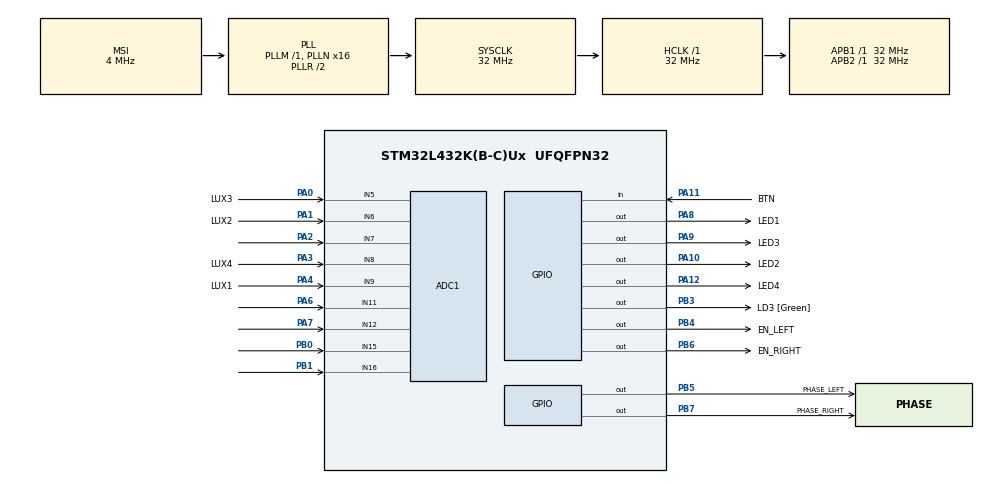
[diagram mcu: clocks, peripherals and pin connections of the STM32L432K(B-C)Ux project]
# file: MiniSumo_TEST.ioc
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ADC1.Channel-0\#ChannelRegularConversion=ADC_CHANNEL_11
ADC1.NbrOfConversionFlag=1
ADC1.OffsetNumber-0\#ChannelRegularConversion=ADC_OFFSET_NONE
ADC1.Rank-0\#ChannelRegularConversion=1
ADC1.SamplingTime-0\#ChannelRegularConversion=ADC_SAMPLETIME_2CYCLES_5
ADC1.master=1
Mcu.Family=STM32L4
Mcu.Name=STM32L432K(B-C)Ux
Mcu.Package=UFQFPN32
NVIC.PriorityGroup=NVIC_PRIORITYGROUP_4
PA0.GPIO_Label=LUX3
PA0.Signal=ADCx_IN5
PA1.GPIO_Label=LUX2
PA1.Signal=ADCx_IN6
PA10.GPIO_Label=LED2
PA10.GPIO_PuPd=GPIO_PULLDOWN
PA10.Signal=GPIO_Output
PA11.GPIO_Label=BTN
PA11.Signal=GPIO_Input
PA12.GPIO_Label=LED4
PA12.GPIO_PuPd=GPIO_PULLDOWN
PA12.Signal=GPIO_Output
PA13\ (JTMS-SWDIO).GPIO_Label=SWDIO
PA13\ (JTMS-SWDIO).Mode=Serial_Wire
PA13\ (JTMS-SWDIO).Signal=SYS_JTMS-SWDIO
PA14\ (JTCK-SWCLK).GPIO_Label=SWCLK
PA14\ (JTCK-SWCLK).Mode=Serial_Wire
PA14\ (JTCK-SWCLK).Signal=SYS_JTCK-SWCLK
PA2.Signal=ADCx_IN7
PA3.GPIO_Label=LUX4
PA3.Signal=ADCx_IN8
PA4.GPIO_Label=LUX1
PA4.Signal=ADCx_IN9
PA6.Signal=ADCx_IN11
PA7.Signal=ADCx_IN12
PA8.GPIO_Label=LED1
PA8.GPIO_PuPd=GPIO_PULLDOWN
PA8.Signal=GPIO_Output
PA9.GPIO_Label=LED3
PA9.GPIO_PuPd=GPIO_PULLDOWN
PA9.Signal=GPIO_Output
PB0.Signal=ADCx_IN15
PB1.Signal=ADCx_IN16
PB3\ (JTDO-TRACESWO).GPIO_Label=LD3 [Green]
PB3\ (JTDO-TRACESWO).GPIO_PuPd=GPIO_NOPULL
PB3\ (JTDO-TRACESWO).Signal=GPIO_Output
PB4\ (NJTRST).GPIO_Label=EN_LEFT
PB4\ (NJTRST).GPIO_PuPd=GPIO_PULLDOWN
PB4\ (NJTRST).Signal=GPIO_Output
PB5.GPIO_Label=PHASE_LEFT
PB5.GPIO_PuPd=GPIO_PULLDOWN
PB5.Signal=GPIO_Output
PB6.GPIO_Label=EN_RIGHT
PB6.GPIO_PuPd=GPIO_PULLDOWN
PB6.Signal=GPIO_Output
PB7.GPIO_Label=PHASE_RIGHT
PB7.GPIO_PuPd=GPIO_PULLDOWN
PB7.Signal=GPIO_Output
PC14-OSC32_IN\ (PC14).Mode=LSE-External-Oscillator
PC14-OSC32_IN\ (PC14).Signal=RCC_OSC32_IN
PC15-OSC32_OUT\ (PC15).Mode=LSE-External-Oscillator
PC15-OSC32_OUT\ (PC15).Signal=RCC_OSC32_OUT
ProjectManager.HeapSize=0x200
ProjectManager.StackSize=0x400
ProjectManager.TargetToolchain=STM32CubeIDE
RCC.ADCFreq_Value=32000000
RCC.AHBFreq_Value=32000000
RCC.APB1Freq_Value=32000000
RCC.APB1TimFreq_Value=32000000
RCC.APB2Freq_Value=32000000
RCC.APB2TimFreq_Value=32000000
RCC.CortexFreq_Value=32000000
RCC.HCLKFreq_Value=32000000
RCC.HSE_VALUE=8000000
RCC.HSI16_VALUE=16000000
RCC.HSI48_VALUE=48000000
RCC.HSI_VALUE=16000000
RCC.MSI_VALUE=4000000
RCC.PLLMUL=RCC_PLLMUL_4
RCC.PLLN=16
RCC.PLLSAI1N=16
RCC.SYSCLKFreq_VALUE=32000000
RCC.SYSCLKSource=RCC_SYSCLKSOURCE_PLLCLK
RCC.USBFreq_Value=32000000
RCC.VCOOutputFreq_Value=64000000
SH.ADCx_IN11.0=ADC1_IN11,IN11-Single-Ended
SH.ADCx_IN12.0=ADC1_IN12,IN12-Single-Ended
SH.ADCx_IN15.0=ADC1_IN15,IN15-Single-Ended
SH.ADCx_IN16.0=ADC1_IN16,IN16-Single-Ended
SH.ADCx_IN5.0=ADC1_IN5,IN5-Single-Ended
SH.ADCx_IN6.0=ADC1_IN6,IN6-Single-Ended
SH.ADCx_IN7.0=ADC1_IN7,IN7-Single-Ended
SH.ADCx_IN8.0=ADC1_IN8,IN8-Single-Ended
SH.ADCx_IN9.0=ADC1_IN9,IN9-Single-Ended
VP_RNG_VS_RNG.Mode=RNG_Activate
board=NUCLEO-L432KC

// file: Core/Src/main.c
/* USER CODE BEGIN Header */
/**
  ******************************************************************************
  * @file           : main.c
  * @brief          : Main program body
  ******************************************************************************
  * @attention
  *
  * Copyright (c) 2025 STMicroelectronics.
  * All rights reserved.
  *
  * This software is licensed under terms that can be found in the LICENSE file
  * in the root directory of this software component.
  * If no LICENSE file comes with this software, it is provided AS-IS.
  *
  ******************************************************************************
  */
/* USER CODE END Header */
#include "main.h"

/* USER CODE BEGIN PD */
#define NUM_SENSORS (9) //how many analog sensors are used in the robot
#define SOFTWARE_PWM_PERIOD (5) //software PWM period in ticks - the less the fester is the PWM freq
#define DEBOUNCE_THRESHOLD (5) //number of stable reads required to confirm a new button state
/* USER CODE END PD */

ADC_HandleTypeDef hadc1;

RNG_HandleTypeDef hrng;

void SystemClock_Config(void);
void PeriphCommonClock_Config(void);
static void MX_GPIO_Init(void);
static void MX_ADC1_Init(void);
static void MX_RNG_Init(void);

/* USER CODE BEGIN 0 */

//Enum for all states in state machine
typedef enum
{
    STATE_IDLE,
    STATE_SEARCH,
    STATE_FIGHT
} RobotState_t;

//struct that associates an ADC channel with a pointer to its output variable
typedef struct
{
    uint32_t channel;
    uint32_t* value_ptr;
} Sensor_t;

//struct that stores info about button state
typedef struct
{
    uint8_t current;          //current debounced button state  <== use this for external usage
    uint8_t previous;         //previous debounced state
    uint8_t rising_edge;      //set to 1 for one loop cycle when a press is detected
    uint8_t falling_edge;     //set to 1 for one loop cycle when a release is detected
    uint8_t stable_state;     //internal filtered state
    uint8_t debounce_counter; //counter for debounce filtering
} ButtonState_t;

//enum representing current motor direction state
typedef enum {
    DIR_STOP,
    DIR_FORWARD,
    DIR_BACKWARD,
    DIR_LEFT,
    DIR_RIGHT
} Direction_t;

//variables used to store analog values read from sensors
uint32_t dist_front_right_value, dist_side_right_value, dist_front_middle_value, dist_front_left_value;
uint32_t dist_side_left_value, light_front_right_value, light_back_right_value, light_front_left_value, light_back_left_value;

static uint8_t pwm_counter = 0; //PWM counter incremented every 1ms from SysTick

//variable tracking current movement direction
Direction_t current_direction = DIR_STOP;

//global variables storing duty cycle 0-100% for left and right motors
volatile uint8_t pwm_left = 0;
volatile uint8_t pwm_right = 0;

//button state
ButtonState_t button = {0};

//holder for current state in state machine
RobotState_t current_state = STATE_IDLE;

//array that maps ADC channels to their corresponding sensor value variables
Sensor_t sensors[NUM_SENSORS] =
{
    {ADC_CHANNEL_16, &dist_front_right_value},
    {ADC_CHANNEL_11, &dist_side_right_value},
    {ADC_CHANNEL_12, &dist_front_middle_value},
    {ADC_CHANNEL_7,  &dist_front_left_value},
    {ADC_CHANNEL_15, &dist_side_left_value},
    {ADC_CHANNEL_9,  &light_front_right_value},
    {ADC_CHANNEL_6,  &light_back_right_value},
    {ADC_CHANNEL_5,  &light_front_left_value},
    {ADC_CHANNEL_8,  &light_back_left_value}
};

//variables defining detection of white line
uint8_t lineDetected_Left=0, lineDetected_Right=0;

//temporary variable for defining distance sensor range
uint32_t temp_sensorRange = 1000;

//variable for storage time of start
uint32_t start_Time=0;

//selects the specified ADC channel and prepares it for conversion
void ADC_SetActiveChannel(ADC_HandleTypeDef *hadc, uint32_t AdcChannel)
{
  ADC_ChannelConfTypeDef sConfig = {0};
  sConfig.Channel = AdcChannel;
  sConfig.Rank = 1;
  sConfig.SamplingTime = ADC_SAMPLETIME_12CYCLES_5;
  if (HAL_ADC_ConfigChannel(hadc, &sConfig) != HAL_OK)
  {
	  Error_Handler();
  }
}

//reads values from all configured ADC channels and stores the results
void UpdateAllSensors(void)
{
    for (int i = 0; i < NUM_SENSORS; i++)
    {
        ADC_SetActiveChannel(&hadc1, sensors[i].channel);
        HAL_ADC_Start(&hadc1);

        if (HAL_ADC_PollForConversion(&hadc1, 10) == HAL_OK)
        {
        	//store the value directly in the variable pointed to by the sensor
            *(sensors[i].value_ptr) = HAL_ADC_GetValue(&hadc1);
        }
    }
}

//stops both motors by disabling the enable pins
void StopMotors(void)
{
    HAL_GPIO_WritePin(EN_LEFT_GPIO_Port, EN_LEFT_Pin, GPIO_PIN_RESET);
    HAL_GPIO_WritePin(EN_RIGHT_GPIO_Port, EN_RIGHT_Pin, GPIO_PIN_RESET);
    pwm_left = 0;
    pwm_right = 0;
    current_direction = DIR_STOP;
}

//stops motors briefly if direction is changing to avoid shoot-through
void SafeDirectionChange(Direction_t new_dir)
{
    if (current_direction != DIR_STOP && current_direction != new_dir)
    {
        StopMotors();
        HAL_Delay(100); //dead time to allow safe switching
    }
}

//moves robot forward at specified speed (0–100%)
void MoveBack(uint8_t speed_percent)
{
    SafeDirectionChange(DIR_FORWARD);

    HAL_GPIO_WritePin(PHASE_LEFT_GPIO_Port, PHASE_LEFT_Pin, GPIO_PIN_SET);
    HAL_GPIO_WritePin(PHASE_RIGHT_GPIO_Port, PHASE_RIGHT_Pin, GPIO_PIN_SET);

    uint8_t duty;

    if (speed_percent > 100)
    {
        duty = SOFTWARE_PWM_PERIOD;
    }
    else
    {
        duty = (speed_percent * SOFTWARE_PWM_PERIOD) / 100;
    }

    pwm_left = duty;
    pwm_right = duty;

    current_direction = DIR_FORWARD;
}

//moves robot backward at specified speed (0–100%)
void MoveForward(uint8_t speed_percent)
{
    SafeDirectionChange(DIR_BACKWARD);

    HAL_GPIO_WritePin(PHASE_LEFT_GPIO_Port, PHASE_LEFT_Pin, GPIO_PIN_RESET);
    HAL_GPIO_WritePin(PHASE_RIGHT_GPIO_Port, PHASE_RIGHT_Pin, GPIO_PIN_RESET);

    uint8_t duty;

    if (speed_percent > 100)
    {
        duty = SOFTWARE_PWM_PERIOD;
    }
    else
    {
        duty = (speed_percent * SOFTWARE_PWM_PERIOD) / 100;
    }

    pwm_left = duty;
    pwm_right = duty;

    current_direction = DIR_BACKWARD;
}

//spins robot left so it turns in place at specified speed
void TurnLeft(uint8_t speed_percent)
{
    SafeDirectionChange(DIR_LEFT);

    HAL_GPIO_WritePin(PHASE_LEFT_GPIO_Port, PHASE_LEFT_Pin, GPIO_PIN_RESET);
    HAL_GPIO_WritePin(PHASE_RIGHT_GPIO_Port, PHASE_RIGHT_Pin, GPIO_PIN_SET);

    uint8_t duty;

    if (speed_percent > 100)
    {
        duty = SOFTWARE_PWM_PERIOD;
    }
    else
    {
        duty = (speed_percent * SOFTWARE_PWM_PERIOD) / 100;
    }

    pwm_left = duty;
    pwm_right = duty;

    current_direction = DIR_LEFT;
}

//spins robot right so it turns in place at specified speed
void TurnRight(uint8_t speed_percent)
{
    SafeDirectionChange(DIR_RIGHT);

    HAL_GPIO_WritePin(PHASE_LEFT_GPIO_Port, PHASE_LEFT_Pin, GPIO_PIN_SET);
    HAL_GPIO_WritePin(PHASE_RIGHT_GPIO_Port, PHASE_RIGHT_Pin, GPIO_PIN_RESET);

    uint8_t duty;

    if (speed_percent > 100)
    {
        duty = SOFTWARE_PWM_PERIOD;
    }
    else
    {
        duty = (speed_percent * SOFTWARE_PWM_PERIOD) / 100;
    }

    pwm_left = duty;
    pwm_right = duty;

    current_direction = DIR_RIGHT;
}

//software based PWM controller - should be called every 1ms from SysTick_Handler :)
void SoftwarePWM_Loop(void)
{
    pwm_counter++;
    if (pwm_counter >= SOFTWARE_PWM_PERIOD)
    {
    	pwm_counter = 0;
    }

    //left motor PWM
    if (pwm_counter < pwm_left)
    {
    	HAL_GPIO_WritePin(EN_LEFT_GPIO_Port, EN_LEFT_Pin, GPIO_PIN_SET);
    }
    else
    {
    	HAL_GPIO_WritePin(EN_LEFT_GPIO_Port, EN_LEFT_Pin, GPIO_PIN_RESET);
    }

    //right motor PWM
    if (pwm_counter < pwm_right)
    {
    	HAL_GPIO_WritePin(EN_RIGHT_GPIO_Port, EN_RIGHT_Pin, GPIO_PIN_SET);
    }
    else
    {
    	HAL_GPIO_WritePin(EN_RIGHT_GPIO_Port, EN_RIGHT_Pin, GPIO_PIN_RESET);
    }
}

//turn LEDs under the robot on and off
void LEDsOnOff(uint8_t state)
{
	if (state == 0)
	{
		HAL_GPIO_WritePin(LED1_GPIO_Port, LED1_Pin, GPIO_PIN_RESET);
		HAL_GPIO_WritePin(LED2_GPIO_Port, LED2_Pin, GPIO_PIN_RESET);
		HAL_GPIO_WritePin(LED3_GPIO_Port, LED3_Pin, GPIO_PIN_RESET);
		HAL_GPIO_WritePin(LED4_GPIO_Port, LED4_Pin, GPIO_PIN_RESET);
	}
	else
	{
		HAL_GPIO_WritePin(LED1_GPIO_Port, LED1_Pin, GPIO_PIN_SET);
		HAL_GPIO_WritePin(LED2_GPIO_Port, LED2_Pin, GPIO_PIN_SET);
		HAL_GPIO_WritePin(LED3_GPIO_Port, LED3_Pin, GPIO_PIN_SET);
		HAL_GPIO_WritePin(LED4_GPIO_Port, LED4_Pin, GPIO_PIN_SET);
	}
}

//calculates the button state including filtering
void UpdateButtonState(void)
{
    //read raw button input
    uint8_t raw_state = (HAL_GPIO_ReadPin(BTN_GPIO_Port, BTN_Pin) == GPIO_PIN_RESET) ? 1 : 0;

    //check if the raw state differs from the last confirmed stable state
    if (raw_state != button.stable_state)
    {
        //count how many times this new state was seen consecutively
        button.debounce_counter++;

        //if new state was long enough then accept it
        if (button.debounce_counter >= DEBOUNCE_THRESHOLD)
        {
            button.previous = button.stable_state;
            button.stable_state = raw_state;

            //edge detection
            button.rising_edge  = (button.previous == 0 && button.stable_state == 1);
            button.falling_edge = (button.previous == 1 && button.stable_state == 0);
        }
    }
    else
    {
        //reset debounce counter if state is sure
        button.debounce_counter = 0;

        //reset edge flags
        button.rising_edge = 0;
        button.falling_edge = 0;
    }

    //save debounced state for external use
    button.current = button.stable_state;
}

void hendleLineDetect(uint8_t min_time, uint8_t max_time){
	//Times of manuvers in ms
	uint8_t reatreat_Time = 70;
	uint8_t turning_Time = 100;

	//RN holder
	uint32_t rng_holder = 0;

	uint32_t executingTime = HAL_GetTick() - start_Time;

	//Checks values of light sensors to check line on left side
	if( light_front_left_value >12 ){ lineDetected_Left = 1;}
	//Checks values of light sensors to check line on right side
	if( light_front_right_value > 12 ){ lineDetected_Right = 1;}
	//If line is detected and there is no active reatret or turns start step back
	if(lineDetected_Left || lineDetected_Right){
		if(!start_Time)
		{
			start_Time = HAL_GetTick();
			if(HAL_RNG_GenerateRandomNumber(&hrng, &rng_holder) == HAL_OK){}
			turning_Time = rng_holder%(max_time - min_time) + min_time;
		}
		if(executingTime < reatreat_Time)
		{
			MoveBack(50);
		}
		if(executingTime > reatreat_Time && executingTime < (reatreat_Time + turning_Time))
		{
			if(lineDetected_Left ){ TurnRight(50);}
			if(lineDetected_Right){ TurnLeft(50) ;}
		}
		if(executingTime > (reatreat_Time + turning_Time)){
			start_Time = 0;
			lineDetected_Left = 0;
			lineDetected_Right = 0;
		}
	}
}
uint8_t enemy_localization(){
	if(dist_side_left_value > temp_sensorRange && dist_front_left_value > temp_sensorRange){return 1;}
	if(dist_front_left_value > temp_sensorRange){return 2;}
	if(dist_front_left_value > temp_sensorRange && dist_front_middle_value > temp_sensorRange){return 3;}
	if(dist_front_middle_value > temp_sensorRange){return 4;}
	if(dist_front_middle_value > temp_sensorRange && dist_front_right_value > temp_sensorRange){return 5;}
	if(dist_front_left_value > temp_sensorRange){return 6;}
	if(dist_front_right_value > temp_sensorRange && dist_side_right_value > temp_sensorRange){return 7;}
	if(dist_front_left_value > temp_sensorRange && dist_front_middle_value > temp_sensorRange && dist_front_right_value > temp_sensorRange){return 8;}
	if(dist_side_left_value > temp_sensorRange){return 9;}
	if(dist_side_right_value > temp_sensorRange){return 10;}
}
void circural_offence(uint8_t enemy_zone){
	switch(enemy_zone)
	{
	case 1:

		break;
	case 2:

		break;
	case 3:

		break;
	case 4:

		break;
	case 5:

		break;
	case 6:

		break;
	case 7:

		break;
	case 8:

		break
	case 9:

		break;
	case 10:

		break;

	}
}
/* USER CODE END 0 */

int main(void)
{

  /* MCU Configuration--------------------------------------------------------*/

  /* Reset of all peripherals, Initializes the Flash interface and the Systick. */
  HAL_Init();

  /* Configure the system clock */
  SystemClock_Config();

  /* Configure the peripherals common clocks */
  PeriphCommonClock_Config();

  /* Initialize all configured peripherals */
  MX_GPIO_Init();
  MX_ADC1_Init();
  MX_RNG_Init();
  /* USER CODE BEGIN 2 */
  HAL_ADC_Start(&hadc1);

  /* USER CODE END 2 */

  /* Infinite loop */
  /* USER CODE BEGIN WHILE */
  while (1)
  {
	  UpdateAllSensors();
	  UpdateButtonState();

	  //STATE MACHINE
	  switch (current_state)
	  {
	  case STATE_IDLE:
		  //here we put logic for one state
		  LEDsOnOff(1);
		  StopMotors();

		  //here we check conditions when we want to go to the next state
		  if (button.rising_edge)
		  {
			  current_state = STATE_SEARCH;
		  }
		  break;
	  case STATE_SEARCH:
		  //......logic........
		  MoveForward(50);
		  LEDsOnOff(1);
		  hendleLineDetect(60,120);
		  //......conditions........
		  for(int i = 0; i < 5; i++){
			  if(*(sensors[i].value_ptr) > temp_sensorRange){
				  current_state = STATE_FIGHT;
			  }
		  }
		  break;
	  case STATE_FIGHT:
		  //......logic........
		  uint8_t enemyZone = enemy_localization();
		  circural_offence(enemyZone);
		  hendleLineDetect(30, 50);
		  //......conditions........
		  for(int i = 0; i < 5; i++){
			  if(*(sensors[i].value_ptr) < temp_sensorRange){
				  current_state = STATE_SEARCH;
			  }
		  }
		  break;
	  }

    /* USER CODE END WHILE */

  }
}

void SystemClock_Config(void)
{
  RCC_OscInitTypeDef RCC_OscInitStruct = {0};
  RCC_ClkInitTypeDef RCC_ClkInitStruct = {0};

  /** Configure the main internal regulator output voltage
  */
  if (HAL_PWREx_ControlVoltageScaling(PWR_REGULATOR_VOLTAGE_SCALE1) != HAL_OK)
  {
    Error_Handler();
  }

  /** Configure LSE Drive Capability
  */
  HAL_PWR_EnableBkUpAccess();
  __HAL_RCC_LSEDRIVE_CONFIG(RCC_LSEDRIVE_LOW);

  /** Initializes the RCC Oscillators according to the specified parameters
  * in the RCC_OscInitTypeDef structure.
  */
  RCC_OscInitStruct.OscillatorType = RCC_OSCILLATORTYPE_LSE|RCC_OSCILLATORTYPE_MSI;
  RCC_OscInitStruct.LSEState = RCC_LSE_ON;
  RCC_OscInitStruct.MSIState = RCC_MSI_ON;
  RCC_OscInitStruct.MSICalibrationValue = 0;
  RCC_OscInitStruct.MSIClockRange = RCC_MSIRANGE_6;
  RCC_OscInitStruct.PLL.PLLState = RCC_PLL_ON;
  RCC_OscInitStruct.PLL.PLLSource = RCC_PLLSOURCE_MSI;
  RCC_OscInitStruct.PLL.PLLM = 1;
  RCC_OscInitStruct.PLL.PLLN = 16;
  RCC_OscInitStruct.PLL.PLLP = RCC_PLLP_DIV7;
  RCC_OscInitStruct.PLL.PLLQ = RCC_PLLQ_DIV2;
  RCC_OscInitStruct.PLL.PLLR = RCC_PLLR_DIV2;
  if (HAL_RCC_OscConfig(&RCC_OscInitStruct) != HAL_OK)
  {
    Error_Handler();
  }

  /** Initializes the CPU, AHB and APB buses clocks
  */
  RCC_ClkInitStruct.ClockType = RCC_CLOCKTYPE_HCLK|RCC_CLOCKTYPE_SYSCLK
                              |RCC_CLOCKTYPE_PCLK1|RCC_CLOCKTYPE_PCLK2;
  RCC_ClkInitStruct.SYSCLKSource = RCC_SYSCLKSOURCE_PLLCLK;
  RCC_ClkInitStruct.AHBCLKDivider = RCC_SYSCLK_DIV1;
  RCC_ClkInitStruct.APB1CLKDivider = RCC_HCLK_DIV1;
  RCC_ClkInitStruct.APB2CLKDivider = RCC_HCLK_DIV1;

  if (HAL_RCC_ClockConfig(&RCC_ClkInitStruct, FLASH_LATENCY_1) != HAL_OK)
  {
    Error_Handler();
  }

  /** Enable MSI Auto calibration
  */
  HAL_RCCEx_EnableMSIPLLMode();
}

void PeriphCommonClock_Config(void)
{
  RCC_PeriphCLKInitTypeDef PeriphClkInit = {0};

  /** Initializes the peripherals clock
  */
  PeriphClkInit.PeriphClockSelection = RCC_PERIPHCLK_RNG|RCC_PERIPHCLK_ADC;
  PeriphClkInit.AdcClockSelection = RCC_ADCCLKSOURCE_PLLSAI1;
  PeriphClkInit.RngClockSelection = RCC_RNGCLKSOURCE_PLLSAI1;
  PeriphClkInit.PLLSAI1.PLLSAI1Source = RCC_PLLSOURCE_MSI;
  PeriphClkInit.PLLSAI1.PLLSAI1M = 1;
  PeriphClkInit.PLLSAI1.PLLSAI1N = 16;
  PeriphClkInit.PLLSAI1.PLLSAI1P = RCC_PLLP_DIV7;
  PeriphClkInit.PLLSAI1.PLLSAI1Q = RCC_PLLQ_DIV2;
  PeriphClkInit.PLLSAI1.PLLSAI1R = RCC_PLLR_DIV2;
  PeriphClkInit.PLLSAI1.PLLSAI1ClockOut = RCC_PLLSAI1_48M2CLK|RCC_PLLSAI1_ADC1CLK;
  if (HAL_RCCEx_PeriphCLKConfig(&PeriphClkInit) != HAL_OK)
  {
    Error_Handler();
  }
}

static void MX_ADC1_Init(void)
{

  ADC_ChannelConfTypeDef sConfig = {0};

  /** Common config
  */
  hadc1.Instance = ADC1;
  hadc1.Init.ClockPrescaler = ADC_CLOCK_ASYNC_DIV1;
  hadc1.Init.Resolution = ADC_RESOLUTION_12B;
  hadc1.Init.DataAlign = ADC_DATAALIGN_RIGHT;
  hadc1.Init.ScanConvMode = ADC_SCAN_DISABLE;
  hadc1.Init.EOCSelection = ADC_EOC_SINGLE_CONV;
  hadc1.Init.LowPowerAutoWait = DISABLE;
  hadc1.Init.ContinuousConvMode = DISABLE;
  hadc1.Init.NbrOfConversion = 1;
  hadc1.Init.DiscontinuousConvMode = DISABLE;
  hadc1.Init.ExternalTrigConv = ADC_SOFTWARE_START;
  hadc1.Init.ExternalTrigConvEdge = ADC_EXTERNALTRIGCONVEDGE_NONE;
  hadc1.Init.DMAContinuousRequests = DISABLE;
  hadc1.Init.Overrun = ADC_OVR_DATA_PRESERVED;
  hadc1.Init.OversamplingMode = DISABLE;
  if (HAL_ADC_Init(&hadc1) != HAL_OK)
  {
    Error_Handler();
  }

  /** Configure Regular Channel
  */
  sConfig.Channel = ADC_CHANNEL_11;
  sConfig.Rank = ADC_REGULAR_RANK_1;
  sConfig.SamplingTime = ADC_SAMPLETIME_2CYCLES_5;
  sConfig.SingleDiff = ADC_SINGLE_ENDED;
  sConfig.OffsetNumber = ADC_OFFSET_NONE;
  sConfig.Offset = 0;
  if (HAL_ADC_ConfigChannel(&hadc1, &sConfig) != HAL_OK)
  {
    Error_Handler();
  }

}

static void MX_RNG_Init(void)
{

  hrng.Instance = RNG;
  if (HAL_RNG_Init(&hrng) != HAL_OK)
  {
    Error_Handler();
  }

}

static void MX_GPIO_Init(void)
{
  GPIO_InitTypeDef GPIO_InitStruct = {0};

  /* GPIO Ports Clock Enable */
  __HAL_RCC_GPIOC_CLK_ENABLE();
  __HAL_RCC_GPIOA_CLK_ENABLE();
  __HAL_RCC_GPIOB_CLK_ENABLE();

  /*Configure GPIO pin Output Level */
  HAL_GPIO_WritePin(GPIOA, LED1_Pin|LED3_Pin|LED2_Pin|LED4_Pin, GPIO_PIN_RESET);

  /*Configure GPIO pin Output Level */
  HAL_GPIO_WritePin(GPIOB, LD3_Pin|EN_LEFT_Pin|PHASE_LEFT_Pin|EN_RIGHT_Pin
                          |PHASE_RIGHT_Pin, GPIO_PIN_RESET);

  /*Configure GPIO pins : LED1_Pin LED3_Pin LED2_Pin LED4_Pin */
  GPIO_InitStruct.Pin = LED1_Pin|LED3_Pin|LED2_Pin|LED4_Pin;
  GPIO_InitStruct.Mode = GPIO_MODE_OUTPUT_PP;
  GPIO_InitStruct.Pull = GPIO_PULLDOWN;
  GPIO_InitStruct.Speed = GPIO_SPEED_FREQ_LOW;
  HAL_GPIO_Init(GPIOA, &GPIO_InitStruct);

  /*Configure GPIO pin : BTN_Pin */
  GPIO_InitStruct.Pin = BTN_Pin;
  GPIO_InitStruct.Mode = GPIO_MODE_INPUT;
  GPIO_InitStruct.Pull = GPIO_NOPULL;
  HAL_GPIO_Init(BTN_GPIO_Port, &GPIO_InitStruct);

  /*Configure GPIO pin : LD3_Pin */
  GPIO_InitStruct.Pin = LD3_Pin;
  GPIO_InitStruct.Mode = GPIO_MODE_OUTPUT_PP;
  GPIO_InitStruct.Pull = GPIO_NOPULL;
  GPIO_InitStruct.Speed = GPIO_SPEED_FREQ_LOW;
  HAL_GPIO_Init(LD3_GPIO_Port, &GPIO_InitStruct);

  /*Configure GPIO pins : EN_LEFT_Pin PHASE_LEFT_Pin EN_RIGHT_Pin PHASE_RIGHT_Pin */
  GPIO_InitStruct.Pin = EN_LEFT_Pin|PHASE_LEFT_Pin|EN_RIGHT_Pin|PHASE_RIGHT_Pin;
  GPIO_InitStruct.Mode = GPIO_MODE_OUTPUT_PP;
  GPIO_InitStruct.Pull = GPIO_PULLDOWN;
  GPIO_InitStruct.Speed = GPIO_SPEED_FREQ_LOW;
  HAL_GPIO_Init(GPIOB, &GPIO_InitStruct);

}

void Error_Handler(void)
{
  __disable_irq();
  while (1)
  {
  }
}
